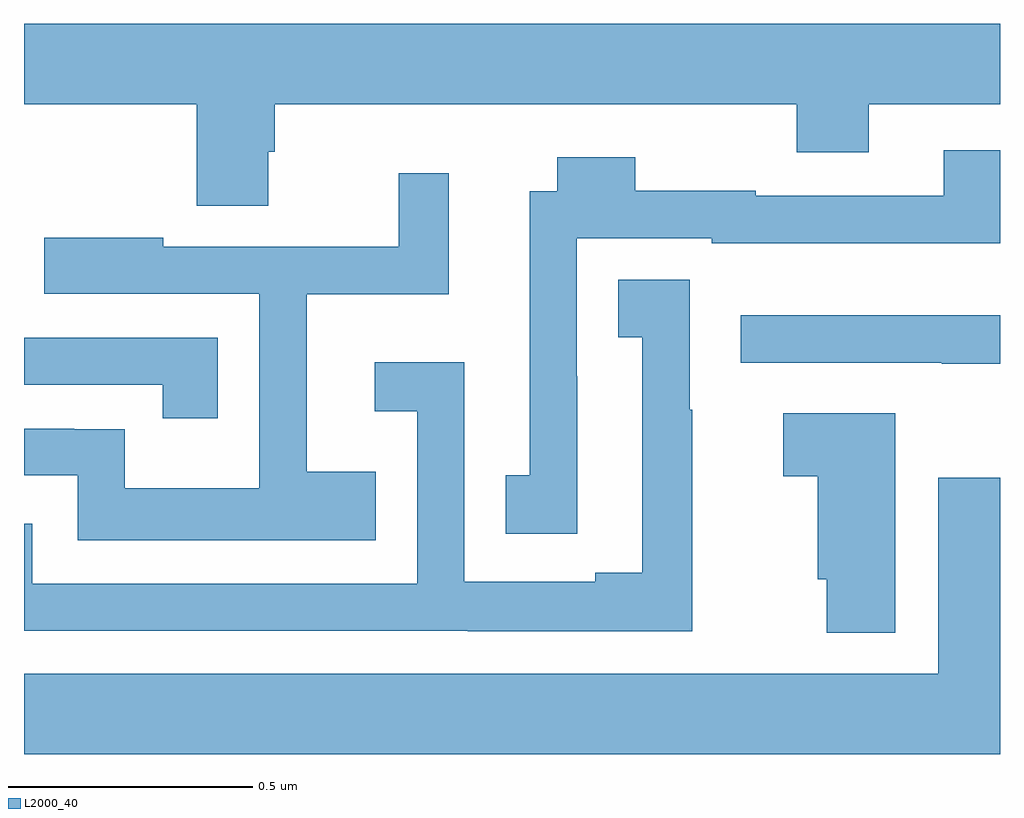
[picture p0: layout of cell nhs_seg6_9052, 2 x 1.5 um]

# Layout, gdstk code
import gdstk
lib = gdstk.Library(unit=1e-6, precision=1e-09)
def P(c, l, *ps):  # polygons
    for p in ps: c.add(gdstk.Polygon(p, *l))
L2000_40 = (2000, 40)

nhs_seg6_9052 = lib.new_cell('nhs_seg6_9052')
P(nhs_seg6_9052, L2000_40, [(229.501,929.922),(229.514,929.922),(229.514,930.02),(230.584,930.02),(230.584,929.921),(230.731,929.921),(230.731,930.02),(231,930.02),(231,930.184),(229,930.184),(229,930.02),(229.354,930.02),(229.354,929.812),(229.501,929.812)],
  [(230.134,929.462),(230.133,929.462),(230.133,929.745),(230.409,929.745),(230.409,929.735),(231,929.735),(231,929.925),(230.885,929.925),(230.885,929.832),(230.499,929.832),(230.499,929.842),(230.253,929.842),(230.253,929.911),(230.093,929.911),(230.093,929.841),(230.036,929.841),(230.036,929.259),(229.987,929.259),(229.987,929.139),(230.134,929.139)],
  [(229.721,929.266),(229.579,929.266),(229.579,929.63),(229.87,929.63),(229.87,929.878),(229.768,929.878),(229.768,929.727),(229.285,929.727),(229.285,929.746),(229.041,929.746),(229.041,929.631),(229.482,929.631),(229.482,929.233),(229.206,929.233),(229.206,929.354),(229.103,929.354),(229.103,929.355),(229,929.355),(229,929.259),(229.11,929.259),(229.11,929.126),(229.721,929.126)],
  [(230.369,929.393),(230.364,929.393),(230.364,929.66),(230.218,929.66),(230.218,929.542),(230.267,929.542),(230.267,929.059),(230.171,929.059),(230.171,929.041),(229.902,929.041),(229.902,929.491),(229.719,929.491),(229.719,929.39),(229.806,929.39),(229.806,929.037),(229.017,929.037),(229.017,929.16),(229,929.16),(229,928.941),(229.909,928.941),(229.909,928.94),(230.369,928.94)],
  [(231,929.587),(230.469,929.587),(230.469,929.49),(230.881,929.49),(230.881,929.488),(231,929.488)],
  [(229.397,929.541),(229,929.541),(229,929.445),(229.284,929.445),(229.284,929.376),(229.397,929.376)],
  [(230.785,929.386),(230.556,929.386),(230.556,929.257),(230.627,929.257),(230.627,929.046),(230.645,929.046),(230.645,928.937),(230.785,928.937)],
  [(231,929.254),(230.873,929.254),(230.873,928.852),(229,928.852),(229,928.688),(231,928.688)])

lib.write_gds('nhs_seg6_9052.gds')
